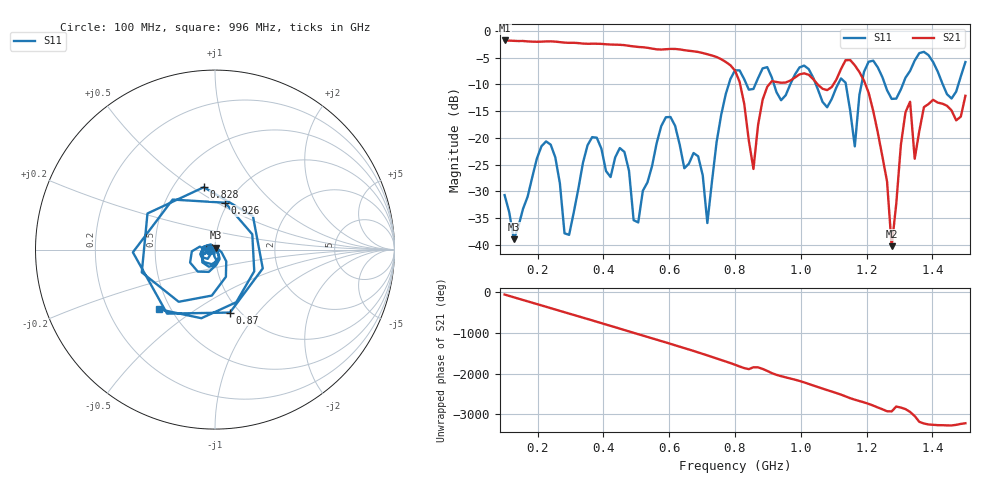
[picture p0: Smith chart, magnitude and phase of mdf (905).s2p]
! NanoVNA-App
! Date: 2025-09-25 15:45:28
! Start: 100MHz Stop: 1,5GHz Points: 101
! S-Parameter data: F S11 S21 S12 S22
# Hz S RI R 50
!  Frequency  S11_Real  S11_Imag  S21_Real  S21_Imag  S12_Real  S12_Imag  S22_Real  S22_Imag
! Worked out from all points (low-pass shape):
!   101 points, 100 MHz to 1.5 GHz, reference 50 ohm
!   highest |S21| = -1.80 dB at 100 MHz (marker M1); lowest = -40.3 dB at 1.276 GHz (marker M2)
!   |S21| within 3 dB of the highest: start of sweep to 739.5 MHz
!   lowest |S11| = -39.0 dB at 128 MHz (marker M3), VSWR 1.02, Z = 50.3 + j1.08 ohm
!   |S11| at or under -10 dB: start of sweep to 781.1 MHz; 918.5 MHz to 968 MHz (49.57 MHz wide, 5.26 % of centre); 1.046 GHz to 1.113 GHz (67.21 MHz wide, 6.23 % of centre) (the widest 3 of 7)
!   S12 and S22 are empty: the file has one direction only
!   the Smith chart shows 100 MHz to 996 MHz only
!   S11 on the Smith chart (normalised r, x): 100 MHz: 0.94, -0.01; 828 MHz: 0.70, +0.56; 870 MHz: 0.90, -0.73; 926 MHz: 0.97, +0.54; 996 MHz: 0.43, -0.36
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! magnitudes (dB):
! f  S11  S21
! 100 MHz  -30.7  -1.8
! 128 MHz  -39.0  -1.9
! 212 MHz  -21.6  -2.0
! 282 MHz  -37.9  -2.2
! 338 MHz  -24.7  -2.4
! 464 MHz  -22.6  -2.7
! 506 MHz  -35.8  -3.0
! 576 MHz  -17.8  -3.5
! 716 MHz  -35.9  -4.4
! 800 MHz  -7.4  -7.4
! 828 MHz  -9.0  -13.6
! 856 MHz  -10.9  -25.8
! 870 MHz  -8.9  -17.7
! 926 MHz  -11.5  -9.6
! 996 MHz  -6.8  -8.1
! 1.038 GHz  -8.8  -9.1
! 1.164 GHz  -21.6  -6.4
! 1.192 GHz  -7.7  -9.3
! 1.276 GHz  -12.7  -40.3
! 1.332 GHz  -7.5  -13.3
! 1.346 GHz  -5.6  -23.9
! 1.5 GHz  -5.8  -12.1
